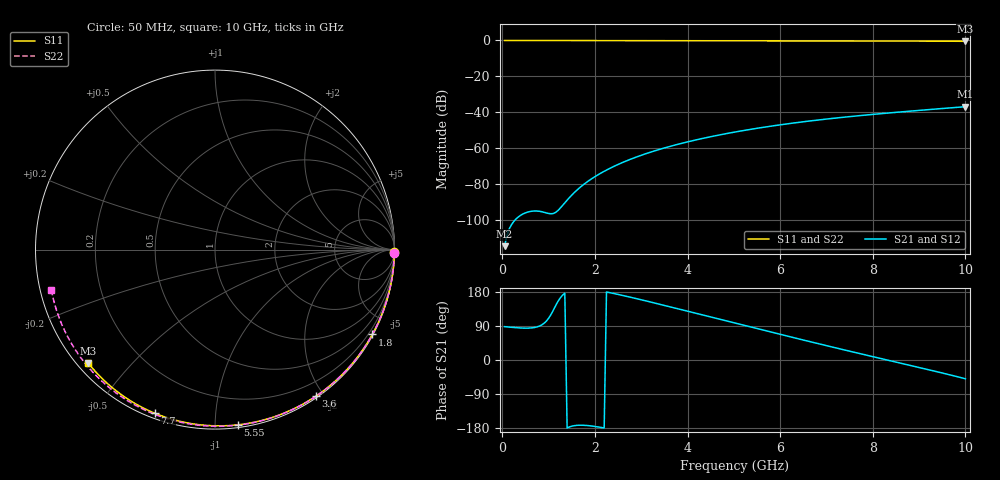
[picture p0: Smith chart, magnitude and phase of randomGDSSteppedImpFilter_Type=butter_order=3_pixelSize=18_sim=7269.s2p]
! freq	dB(S11)	phase(S11)	dB(S12)	phase(S12)
!  dB(S21)	phase(S21)	dB(S22)	phase(S22)
!S-par simulation data
#  GHz  S  DB  R 50
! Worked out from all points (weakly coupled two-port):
!   200 points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, 50 MHz to 10 GHz, reference 50 ohm
!   highest |S21| = -36.84 dB at 10 GHz (marker M1); lowest = -114.4 dB at 50 MHz (marker M2)
!   lowest |S11| = -0.5 dB at 10 GHz (marker M3), VSWR 37.39, Z = 1.53 - j19.1 ohm
!   |S11| at or under -10 dB: nowhere
!   |S22| runs from -0.5 to 0.0 dB; largest |S21 - S12| = 0
!   S11 on the Smith chart (normalised r, x): 50 MHz: open; 1.8 GHz: 0.03, -3.96; 3.6 GHz: 0.02, -1.91; 5.55 GHz: 0.02, -1.14; 7.7 GHz: 0.02, -0.70; 10 GHz: 0.03, -0.38
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0.05  -0.00 -0.8  -114.37 87.9  -114.37 87.9  -0.00 -1.0
0.45  -0.01 -7.2  -96.40 84.1  -96.40 84.1  -0.01 -8.7
0.85  -0.02 -13.5  -95.21 92.5  -95.21 92.5  -0.02 -16.4
1.3  -0.03 -20.6  -91.76 170.9  -91.76 170.9  -0.03 -24.9
1.75  -0.04 -27.6  -80.21 -172.2  -80.21 -172.2  -0.04 -33.4
1.8  -0.04 -28.3  -79.23 -172.6  -79.23 -172.6  -0.04 -34.3
1.95  -0.04 -30.6  -76.54 -174.5  -76.54 -174.5  -0.05 -37.1
2.1  -0.04 -32.9  -74.17 -177.3  -74.17 -177.3  -0.05 -39.9
2.3  -0.05 -36.0  -71.39 178.2  -71.39 178.2  -0.06 -43.5
2.5  -0.05 -39.0  -68.93 173.1  -68.93 173.1  -0.06 -47.2
2.9  -0.06 -45.0  -64.76 161.9  -64.76 161.9  -0.07 -54.4
3.4  -0.07 -52.4  -60.52 147.0  -60.52 147.0  -0.08 -63.2
3.6  -0.07 -55.4  -59.04 141.0  -59.04 141.0  -0.09 -66.6
4.3  -0.09 -65.4  -54.61 119.6  -54.61 119.6  -0.11 -78.5
5.05  -0.12 -75.8  -50.78 96.6  -50.78 96.6  -0.14 -90.8
5.55  -0.14 -82.6  -48.63 81.4  -48.63 81.4  -0.16 -98.8
6.1  -0.16 -89.9  -46.55 64.7  -46.55 64.7  -0.19 -107.3
6.7  -0.19 -97.6  -44.58 46.8  -44.58 46.8  -0.22 -116.5
7.7  -0.25 -110.3  -41.83 17.4  -41.83 17.4  -0.30 -131.5
8.35  -0.30 -118.2  -40.30 -1.2  -40.30 -1.2  -0.36 -141.2
9.2  -0.38 -128.6  -38.46 -25.5  -38.46 -25.5  -0.45 -154.0
10  -0.46 -138.2  -36.84 -49.6  -36.84 -49.6  -0.55 -166.2
